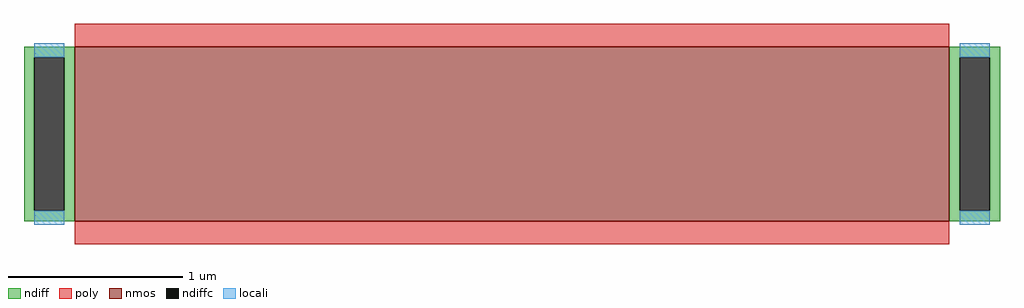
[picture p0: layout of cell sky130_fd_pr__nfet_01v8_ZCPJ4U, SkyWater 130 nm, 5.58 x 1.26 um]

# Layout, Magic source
magic
tech sky130A
<< nmos >>
rect -250 -50 250 50
<< ndiff >>
rect -279 44 -250 50
rect -279 -44 -273 44
rect -256 -44 -250 44
rect -279 -50 -250 -44
rect 250 44 279 50
rect 250 -44 256 44
rect 273 -44 279 44
rect 250 -50 279 -44
<< ndiffc >>
rect -273 -44 -256 44
rect 256 -44 273 44
<< poly >>
rect -250 50 250 63
rect -250 -63 250 -50
<< locali >>
rect -273 44 -256 52
rect -273 -52 -256 -44
rect 256 44 273 52
rect 256 -52 273 -44
<< properties >>
string gencell sky130_fd_pr__nfet_01v8
string library sky130
string parameters w 1 l 5 m 1 nf 1 diffcov 100 polycov 100 guard 0 glc 0 grc 0 gtc 0 gbc 0 tbcov 100 rlcov 100 topc 0 botc 0 poverlap 0 doverlap 0 lmin 0.15 wmin 0.42 compatible {sky130_fd_pr__nfet_01v8 sky130_fd_pr__nfet_01v8_lvt  sky130_fd_bs_flash__special_sonosfet_star  sky130_fd_pr__nfet_g5v0d10v5 sky130_fd_pr__nfet_05v0_nvt  sky130_fd_pr__nfet_03v3_nvt} full_metal 0 viasrc 0 viadrn 0 viagate 0 viagb 0 viagr 0 viagl 0 viagt 0
string sky130_fd_pr__nfet_01v8_ZCPJ4U parameters
<< end >>
